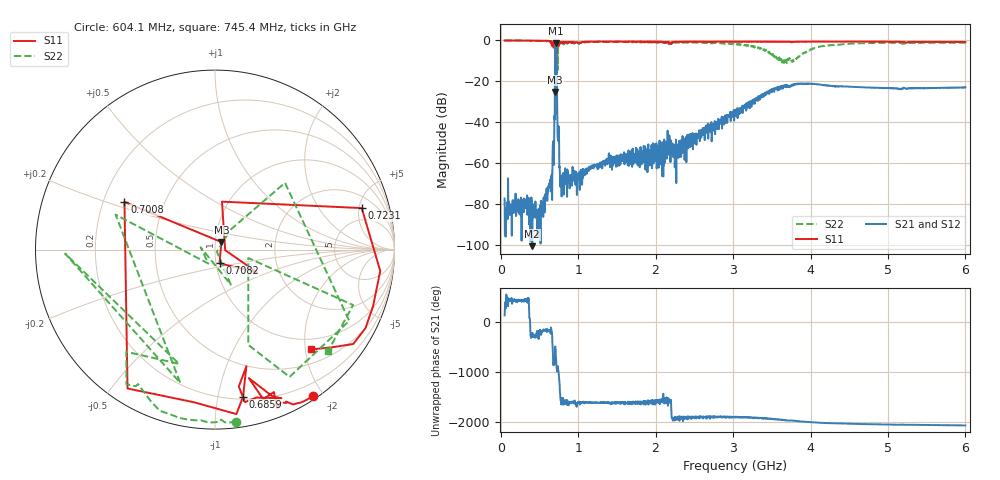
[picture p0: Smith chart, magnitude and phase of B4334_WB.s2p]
! Matrix data file written by TouchstoneData, EPCOS AG
! FILENAME: "B4334_2_X30Y37_WB.snp"
! COMMENT: "(TS/B4334_2_X30Y37_WB.s2p) Epcos AG 4/24/201"
! INFO: nport=2, nfreq=1601
! DATE: "Tue Aug 12 10:43:38 2014"
! USER: "Dan Wang"
! port | pin | signal
!  1  |  1  |  input
!  2  |  4  |  output
# MHZ S RI R 50
! freq  reS11 imS11  reS21 imS21  reS12 imS12  reS22 imS22
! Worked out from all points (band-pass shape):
!   1601 points, 50 MHz to 6 GHz, reference 50 ohm
!   highest |S21| = -1.37 dB at 708.2 MHz (marker M1); lowest = -100.6 dB at 407 MHz (marker M2)
!   |S21| within 3 dB of the highest: 702.5 MHz to 719.8 MHz (17.28 MHz wide, 2.43 % of centre)
!   lowest |S11| = -25.2 dB at 704.5 MHz (marker M3), VSWR 1.12, Z = 53.5 + j4.5 ohm
!   |S11| at or under -10 dB: 701.7 MHz to 719.9 MHz (18.17 MHz wide, 2.56 % of centre)
!   |S22| runs from -36.0 to 0.0 dB; largest |S21 - S12| = 0
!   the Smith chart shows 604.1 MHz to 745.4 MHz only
!   S11 on the Smith chart (normalised r, x): 604.1 MHz: 0.05, -1.87; 685.9 MHz: 0.22, -1.18; 700.8 MHz: 0.29, +0.23; 708.2 MHz: 1.04, -0.16; 723.1 MHz: 3.21, +5.33; 745.4 MHz: 0.77, -2.11
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50  0.9935 -0.0742  -7.72e-05 0.000113  -7.72e-05 0.000113  0.9907 -0.1206
407  0.8147 -0.5614  -6.59e-06 6.65e-06  -6.59e-06 6.65e-06  0.5726 -0.8002
604.0938  0.5452 -0.8137  -0.000144 -7.35e-05  -0.000144 -7.35e-05  0.1196 -0.9603
659.875  0.1884 -0.7158  -0.000473 0.000241  -0.000473 0.000241  -0.2086 -0.934
685.9062  0.1564 -0.8195  0.00027 -0.000862  0.00027 -0.000862  -0.4939 -0.5692
700.7812  -0.5044 0.2658  0.3311 0.3322  0.3311 0.3322  -0.5537 0.1949
704.5  0.0358 0.042  -0.5942 -0.5676  -0.5942 -0.5676  -0.0374 -0.0779
708.2188  0.0252 -0.0768  -0.4665 0.7159  -0.4665 0.7159  -0.0798 0.0127
723.0938  0.8175 0.2312  -0.1636 0.1062  -0.1636 0.1062  0.39 0.3723
745.4062  0.5341 -0.5566  -0.000174 0.00342  -0.000174 0.00342  0.6303 -0.5646
760.2812  0.6911 -0.5581  -0.000772 -0.000292  -0.000772 -0.000292  0.4229 -0.7867
793.75  0.6024 -0.6479  -0.000294 -0.000275  -0.000294 -0.000275  0.2366 -0.8609
1042.906  0.3718 -0.8257  -0.000524 1.47e-05  -0.000524 1.47e-05  -0.0911 -0.8765
1392.469  0.0666 -0.9385  -0.00134 -0.000321  -0.00134 -0.000321  -0.4186 -0.8216
2035.812  -0.3361 -0.8541  -0.00247 -0.000625  -0.00247 -0.000625  -0.7232 -0.546
2262.656  -0.3796 -0.8382  -0.00369 -0.000671  -0.00369 -0.000671  -0.7553 -0.4861
3025  -0.6444 -0.6798  -0.00612 -0.0181  -0.00612 -0.0181  -0.8171 -0.0744
3426.625  -0.7223 -0.5947  -0.0369 -0.0388  -0.0369 -0.0388  -0.5524 0.1474
3664.625  -0.753 -0.5349  -0.0727 -0.00537  -0.0727 -0.00537  -0.32 -0.0749
4017.906  -0.8032 -0.4771  -0.0733 0.0472  -0.0733 0.0472  -0.4605 -0.399
5010.812  -0.8961 -0.2603  -0.0129 0.0676  -0.0129 0.0676  -0.874 -0.0721
6000  -0.9154 -0.0724  0.00833 0.0711  0.00833 0.0711  -0.8518 0.2185
